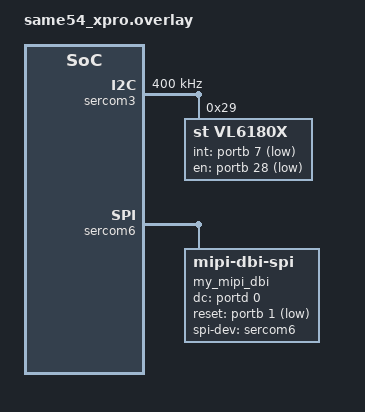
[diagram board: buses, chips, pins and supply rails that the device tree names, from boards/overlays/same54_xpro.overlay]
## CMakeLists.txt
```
cmake_minimum_required(VERSION 3.20.0)

# ------------------------------------------------------------
# Board-specific DTS overlays (MUST be set before Zephyr)
# ------------------------------------------------------------
if(DEFINED BOARD)
  if(BOARD STREQUAL "same54_xpro")
    list(APPEND DTC_OVERLAY_FILE
      ${CMAKE_CURRENT_SOURCE_DIR}/boards/overlays/same54_xpro.overlay
    )
  elseif(BOARD STREQUAL "samd21_iot_wg")
    list(APPEND DTC_OVERLAY_FILE
      ${CMAKE_CURRENT_SOURCE_DIR}/boards/overlays/samd21_iot_wg.overlay
    )
  elseif(BOARD STREQUAL "samd21_iot_wg2")
    list(APPEND DTC_OVERLAY_FILE
      ${CMAKE_CURRENT_SOURCE_DIR}/boards/overlays/samd21_iot_wg2.overlay
    )
    elseif(BOARD STREQUAL "samd21_xpro_ot")
    list(APPEND DTC_OVERLAY_FILE
      ${CMAKE_CURRENT_SOURCE_DIR}/boards/overlays/samd21_xpro_ot.overlay
    )
  endif()

endif()

find_package(Zephyr REQUIRED HINTS $ENV{ZEPHYR_BASE})

project(mchp_range_gfx)

target_include_directories(app PRIVATE ${CMAKE_CURRENT_SOURCE_DIR}/include)

target_sources(app PRIVATE
    src/main.c
    src/range_text.c
    src/range_chart.c
    src/range_dial.c
    src/vl6180x.c
)
```

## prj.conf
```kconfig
# Enable console output
CONFIG_PRINTK=y
CONFIG_NEWLIB_LIBC=y
CONFIG_CBPRINTF_FP_SUPPORT=y

# Configure SPI
CONFIG_GPIO=y
CONFIG_SPI=y

# Configure I2C
CONFIG_I2C=y
CONFIG_I2C_SAM0=y
CONFIG_I2C_INIT_PRIORITY=60
CONFIG_I2C_LOG_LEVEL_DBG=y
CONFIG_PINCTRL=y
CONFIG_PINCTRL_SAM0=y

# Sensor subsystem
CONFIG_SENSOR=y

CONFIG_LOG=y
CONFIG_SENSOR_LOG_LEVEL_DBG=y
CONFIG_PINCTRL_LOG_LEVEL_DBG=y 

CONFIG_INPUT=y
CONFIG_GPIO_SAM0=y

CONFIG_MAIN_STACK_SIZE=8192
CONFIG_SYSTEM_WORKQUEUE_STACK_SIZE=4096

CONFIG_DISPLAY=y
CONFIG_DISPLAY_LOG_LEVEL_ERR=y

CONFIG_LVGL=y
CONFIG_LV_Z_MEM_POOL_SIZE=40000
CONFIG_LV_Z_VDB_SIZE=10

# Display needs data in BGR format, with endianess swapped for SPI
CONFIG_LV_COLOR_DEPTH_16=y
CONFIG_LV_COLOR_16_SWAP=y

CONFIG_SYS_CLOCK_EXISTS=y
CONFIG_LV_CONF_MINIMAL=y
CONFIG_LV_USE_LABEL=y
CONFIG_LV_USE_BUTTON=y
CONFIG_LV_USE_CHART=y
CONFIG_LV_USE_IMAGE=y
CONFIG_LV_USE_THEME_DEFAULT=y
CONFIG_LV_FONT_MONTSERRAT_28=y
CONFIG_TICKLESS_KERNEL=n
CONFIG_LV_USE_ARC=n
CONFIG_LV_USE_BAR=n
CONFIG_LV_USE_DROPDOWN=n
CONFIG_LV_USE_SLIDER=n
CONFIG_LV_USE_TEXTAREA=n
CONFIG_LV_USE_CANVAS=n
CONFIG_LV_USE_THEME_MONO=n
```

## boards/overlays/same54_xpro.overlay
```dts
#include <zephyr/dt-bindings/display/panel.h>

/{
    aliases {
        vl6180xsensor = &vl6180x;
        spi6 = &sercom6;
    };

    chosen {
        zephyr,display = &gc9x01x_lcd;
    };   
};

&pinctrl {
	sercom6_spi_default: sercom6_spi_default {
		group1 {
			pinmux = <PC5C_SERCOM6_PAD1>,
                    <PC4C_SERCOM6_PAD0>,
	                <PC7C_SERCOM6_PAD3>;
		};
	};

    sercom3_i2c_default: sercom3_i2c_default {
        group1 {
            pinmux = <PA22C_SERCOM3_PAD0>,
                    <PA23C_SERCOM3_PAD1>;
        };
    };
};

&sercom3 {
    status = "okay";
    compatible = "atmel,sam0-i2c";
    clock-frequency = <I2C_BITRATE_FAST>;
    #address-cells = <1>;
    #size-cells = <0>;
    pinctrl-0 = <&sercom3_i2c_default>;
    pinctrl-names = "default";

    vl6180x: vl6180x@29 {
        status = "okay";
        compatible = "st,vl6180x";
        reg = <0x29>;

        int-gpios = <&portb 7 (GPIO_ACTIVE_LOW | GPIO_PULL_UP)>;
        en-gpios = <&portb 28 (GPIO_ACTIVE_LOW | GPIO_PULL_UP)>;
        continuous-mode;
    };
};

&sercom6 {
    status = "okay";
    compatible = "atmel,sam0-spi";
    dipo = <3>;
    dopo = <0>;

    #address-cells = <1>;
    #size-cells = <0>;

    pinctrl-0 = <&sercom6_spi_default>;
	pinctrl-names = "default";

    /* Use SPI SS pin as GPIO CS */
    cs-gpios = <&portc 6 GPIO_ACTIVE_LOW>;

    my_mipi_dbi {
        compatible = "zephyr,mipi-dbi-spi";
        status = "okay";
        #address-cells = <1>;
        #size-cells = <0>;
        spi-dev = <&sercom6>;
        dc-gpios = <&portd 0 GPIO_ACTIVE_HIGH>;
        reset-gpios = <&portb 1 GPIO_ACTIVE_LOW>;

        gc9x01x_lcd: gc9x01x_lcd@0 {
            compatible = "galaxycore,gc9x01x";
            reg = <0>;
            mipi-max-frequency = <20000000>;
            pixel-format = <PANEL_PIXEL_FORMAT_RGB_565>;
            width = <240>;
            height = <240>;
            display-inversion;
        };
    };
};
```

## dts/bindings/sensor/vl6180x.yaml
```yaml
# dts/bindings/sensor/vl6180x.yaml
description: "ST VL6180X Time-of-Flight Distance Sensor"
compatible: "st,vl6180x"

properties:
  int-gpios:
    type: phandle-array
    required: false
    description: "Optional interrupt GPIO line"

  en-gpios:
    type: phandle-array
    required: false
    description: "Optional enable GPIO line"

  continuous-mode:
    type: boolean
    required: false
    description: "Enable continuous measurement mode if present"

  reg:
    type: int
    required: true
    description: "I2C address of the sensor"

# Optional: define any standard Zephyr sensor properties
```

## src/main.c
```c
/*
 * Main application for VL6180 visualization on a round display.
 *
 * This program initializes a VL6180 sensor, display, and LVGL UI to show
 * sensor data in two modes: text display, rolling chart.
 * Button presses cycle between screens.
 */
#include <zephyr/kernel.h>
#include <zephyr/sys/printk.h>
#include <zephyr/drivers/gpio.h>
#include <zephyr/input/input.h>
#include <zephyr/device.h>
#include <zephyr/drivers/sensor.h>
#include <zephyr/drivers/display.h>
#include <zephyr/drivers/spi.h>
#include <zephyr/drivers/i2c.h>
#include <lvgl.h>
#include <soc.h>
#include <stdio.h>
#include <stdlib.h>
#include "vl6180x.h"
#include "range_text.h"
#include "range_chart.h"
#include "range_dial.h"

#define SLEEP_TIME_MS 100  /* Main loop sleep time */

static volatile int irq_from_button = 0;  /* Flag set by button interrupt */
static bool button_pressed = false;  /* Current button state */

static const struct gpio_dt_spec led = GPIO_DT_SPEC_GET(DT_ALIAS(led0), gpios);

static const struct gpio_dt_spec switch0 = GPIO_DT_SPEC_GET(DT_ALIAS(sw0), gpios);
static const struct gpio_dt_spec switch1 = GPIO_DT_SPEC_GET_OR(DT_ALIAS(sw1), gpios, {0});
static const struct device *vl6180_dev = DEVICE_DT_GET_ANY(st_vl6180x);

/* Static storage for the LVGL screens */
static lv_obj_t *text_screen = NULL;
static lv_obj_t *chart_screen = NULL;
static lv_obj_t *dial_screen = NULL;

typedef enum {
    SCREEN_TEXT = 0,
    SCREEN_CHART,
    SCREEN_DIAL
} screen_mode_t;

static screen_mode_t current_screen = SCREEN_TEXT;

void heartbeat_thread(void)
{
    while (1) {
        gpio_pin_set_dt(&led, 1);
        k_msleep(100);

        gpio_pin_set_dt(&led, 0);
        k_msleep(100);

        gpio_pin_set_dt(&led, 1);
        k_msleep(100);

        gpio_pin_set_dt(&led, 0);
        k_msleep(700);
    }
}

K_THREAD_DEFINE(heartbeat_tid, 512, heartbeat_thread, NULL, NULL, NULL,
                7, 0, 0);

/*
 * LVGL input device read callback for button input.
 * Maps GPIO button state to LVGL touch events.
 */
static void lv_button_read(lv_indev_t * indev_drv, lv_indev_data_t * data)
{
    button_pressed = gpio_pin_get_dt(&switch0) == 1;
    data->state = button_pressed ? LV_INDEV_STATE_PRESSED : LV_INDEV_STATE_RELEASED;
    data->point.x = 120;  /* Dummy touch coordinates */
    data->point.y = 160;
}

/*
 * Button input event callback (legacy, not used for LVGL).
 */
static void button_input_cb(struct input_event *evt, void *user_data)
{
    if (evt->sync == 0) {
        return;
    }

    irq_from_button = 1;
    printk("Button %d %s\n", evt->code, evt->value ? "pressed" : "released");
}

INPUT_CALLBACK_DEFINE(NULL, button_input_cb, NULL);

int main(void)
{
    int ret;
    struct sensor_value val;

    printk("Application started\n");

    /* Initialize LED GPIO */
    if (!gpio_is_ready_dt(&led)) {
        return 0;
    }

    ret = gpio_pin_configure_dt(&led, GPIO_OUTPUT_ACTIVE);
    if (ret < 0) {
        return 0;
    }

    /* Enable button interrupts */
    if (device_is_ready(switch0.port)) {
        gpio_pin_interrupt_configure_dt(&switch0, GPIO_INPUT);
    }

    if (device_is_ready(switch1.port)) {
        gpio_pin_interrupt_configure_dt(&switch1, GPIO_INPUT);
    }

    if (!device_is_ready(vl6180_dev)) {
        printk("VL6180X device not ready\n");
        return 0;
    }

    /* Initialize display and LVGL */
    const struct device *display_dev;

    display_dev = DEVICE_DT_GET(DT_CHOSEN(zephyr_display));
    if (!device_is_ready(display_dev)) {
        printk("Device not ready, aborting test\n");
        return 0;
    }

    display_set_pixel_format(display_dev, PIXEL_FORMAT_RGB_565);
    display_blanking_off(display_dev);

    /* Create LVGL input device for button */
    lv_indev_t *indev = lv_indev_create();
    lv_indev_set_type(indev, LV_INDEV_TYPE_POINTER);
    lv_indev_set_read_cb(indev, lv_button_read);

    /* ======== LVGL Screen Initialization ======== */
    /* Create text screen */
    text_screen = lv_obj_create(NULL);
    lv_scr_load(text_screen);
    range_text_init(text_screen);

    chart_screen = lv_obj_create(NULL);
    range_chart_init(chart_screen);

    dial_screen = lv_obj_create(NULL);
    range_dial_init(dial_screen);

    /* Temporary next button */
    lv_obj_t *btn = lv_button_create(lv_screen_active());
    lv_obj_set_size(btn, 80, 40);
    lv_obj_align(btn, LV_ALIGN_CENTER, 0, 60);

    lv_obj_t *btn_label = lv_label_create(btn);
    lv_label_set_text(btn_label, "Next");
    lv_obj_center(btn_label);

    /* Main application loop */
    while (1) {
        /* Toggle LED */
        // ret = gpio_pin_toggle_dt(&led);
        // if (ret < 0) {
        //     return 0;
        // }

        // /* Handle button press to switch screens */
        if (irq_from_button) {            
            irq_from_button = 0;
            button_pressed = gpio_pin_get_dt(&switch0) == 1;

            /* Remove welcome UI elements on first press */
            if (btn != NULL) {
                lv_obj_del(btn);
                btn = NULL;
            }

            if (button_pressed) {
                current_screen = (current_screen + 1) % 3;

                /* Load the new screen */
                switch(current_screen) {
                    case SCREEN_TEXT:
                        lv_scr_load(text_screen);
                        break;
                    case SCREEN_CHART:
                        lv_scr_load(chart_screen);
                        break;
                    case SCREEN_DIAL:
                        lv_scr_load(dial_screen);
                        break;
                }
            }
        }

        if (sensor_sample_fetch(vl6180_dev) == 0) {
            sensor_channel_get(vl6180_dev, SENSOR_CHAN_DISTANCE, &val);
            switch(current_screen) {
                case SCREEN_TEXT:
                    update_range_text(&val);
                    break;
                case SCREEN_CHART:
                    update_range_chart(&val);
                    break;
                case SCREEN_DIAL:
                    update_range_dial(&val);
                    break;
            }
        }

        /* Run LVGL timer handler for UI updates */
        lv_timer_handler();

        k_msleep(SLEEP_TIME_MS);
    }

    return 0;
}
```

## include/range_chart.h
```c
/**
 * @file range_chart.h
 *
 * Helper APIs for rendering a rolling vl6180x sensor chart using LVGL.
 * This module creates a small oscilloscope-style chart that plots the
 * range channel in real time.
 */
#ifndef RANGE_CHART_H
#define RANGE_CHART_H

#include <zephyr/drivers/sensor.h>
#include <lvgl.h>
#include <stdint.h>

/**
 * Initialize the range chart.
 *
 * This must be called once before calling update_range_chart(). The returned
 * object is the same parent that was passed in, which allows chaining in the
 * caller if desired.
 *
 * @param parent The LVGL object to contain the chart.
 * @return The same parent object passed in.
 */
lv_obj_t* range_chart_init(lv_obj_t *parent);

/**
 * Push new range samples into the chart.
 *
 * This should be called whenever a new sensor sample is available.
 * Only the integer part (val1) of each sensor_value is used.
 *
 * @param distance Pointer to temperature value.
 */
void update_range_chart(struct sensor_value *distance);

#endif /* RANGE_CHART_H */
```

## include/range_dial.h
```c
/**
 * @file range_dial.h
 *
 * Helper APIs for rendering a vl6180x sensor dial using LVGL.
 * This module creates a small dial that plots the
 * range channel in real time.
 */
#ifndef RANGE_DIAL_H
#define RANGE_DIAL_H

#include <zephyr/drivers/sensor.h>
#include <lvgl.h>
#include <stdint.h>

/**
 * Initialize the range dial.
 *
 * This must be called once before calling update_range_chart(). The returned
 * object is the same parent that was passed in, which allows chaining in the
 * caller if desired.
 *
 * @param parent The LVGL object to contain the chart.
 * @return The same parent object passed in.
 */
lv_obj_t* range_dial_init(lv_obj_t *parent);

/**
 * Push new range samples into the chart.
 *
 * This should be called whenever a new sensor sample is available.
 * Only the integer part (val1) of each sensor_value is used.
 *
 * @param distance Pointer to temperature value.
 */
void update_range_dial(struct sensor_value *distance);

#endif /* RANGE_DIAL_H */
```

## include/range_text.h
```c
/**
 * @file bme280_text.h
 *
 * Helper APIs for BME280 sensor text display using LVGL.
 * This module creates a simple text-based display for showing real-time
 * sensor values (Temperature/Pressure/Humidity).
 */
#ifndef RANGE_TEXT_H
#define RANGE_TEXT_H

#include <zephyr/drivers/sensor.h>
#include <lvgl.h>
#include <stdint.h>

/**
 * Initialize the Range Text.
 *
 * This must be called once before calling update_range_text(). The returned
 * object is the same parent that was passed in, which allows chaining in the
 * caller if desired.
 *
 * @param parent The LVGL object to contain the text.
 * @return The same parent object passed in.
 */
lv_obj_t* range_text_init(lv_obj_t *parent);

/**
 * Push new range samples into the text.
 *
 * This should be called whenever a new range sample is available.
 *
 * @param distance Pointer to distance value.
 */
void update_range_text(struct sensor_value *distance);

#endif /* RANGE_TEXT_H */
```

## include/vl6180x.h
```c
#ifndef ZEPHYR_DRIVERS_SENSOR_VL6180X_H_
#define ZEPHYR_DRIVERS_SENSOR_VL6180X_H_

#include <zephyr/drivers/i2c.h>
#include <zephyr/drivers/gpio.h>

/* Device configuration */
struct vl6180x_config {
    struct i2c_dt_spec i2c;
    struct gpio_dt_spec int_gpio;
    struct gpio_dt_spec en_gpio;
    bool continuous;
};

/* Runtime data */
struct vl6180x_data {
    uint8_t distance;

    const struct device *dev;

    /* Interrupt handling */
    struct gpio_callback gpio_cb;
    struct k_sem data_ready;
};

#endif /* ZEPHYR_DRIVERS_SENSOR_VL6180X_H_ */
```

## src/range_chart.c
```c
/*
 * A simple LVGL chart implementation that plots lv6180x sensor values
 * (range) over time.
 *
 * The chart is configured as a circular rolling buffer, where new values
 * replace the oldest ones. This gives an "oscilloscope" feel.
 */
#include <zephyr/kernel.h>
#include <zephyr/sys/printk.h>
#include <stdlib.h>
#include <stdio.h>
#include <lvgl.h>
#include <math.h>
#include "range_chart.h"

static lv_obj_t *chart;
static lv_chart_series_t *ser_distance;

lv_obj_t* range_chart_init(lv_obj_t *parent)
{
    /* Create a chart object as a child of the given parent */
    chart = lv_chart_create(parent);

    /* Give the chart a fixed size and center it */
    lv_obj_set_size(chart, 200, 200);
    lv_obj_center(chart);

    /*
     * Use a dark background and minimal border to look like an oscilloscope.
     */
    lv_obj_set_style_bg_color(chart, lv_color_black(), 0);
    lv_obj_set_style_bg_opa(chart, LV_OPA_COVER, 0);
    lv_obj_set_style_border_width(chart, 1, 0);
    lv_obj_set_style_border_color(chart, lv_color_hex(0x444444), 0);

    /* Grid lines for reference */
    lv_chart_set_div_line_count(chart, 6, 6);

    lv_obj_set_style_line_color(chart, lv_color_hex(0x333333), LV_PART_MAIN);
    lv_obj_set_style_line_width(chart, 1, LV_PART_MAIN);

    /* Use circular update mode so the chart scrolls continuously */
    lv_chart_set_update_mode(chart, LV_CHART_UPDATE_MODE_CIRCULAR);
    lv_obj_set_style_size(chart, 0, 0, LV_PART_INDICATOR);

    /* 120 points per series and a Y range that covers distance */
    lv_chart_set_point_count(chart, 120);
    lv_chart_set_range(chart, LV_CHART_AXIS_PRIMARY_Y, 0, 260);

    /* Add series for distance */
    ser_distance = lv_chart_add_series(chart, lv_palette_main(LV_PALETTE_GREEN), LV_CHART_AXIS_PRIMARY_Y);
    return parent;
}

/**
 * update_range_chart - add new sensor values to the chart
 *
 * This is intended to be called whenever a new range sample is available.
 * It pushes the values into the chart series and then clears a few points
 * ahead of the write cursor to avoid visual ghosting artifacts.
 */
void update_range_chart(struct sensor_value *distance_sv)
{
    /* Use only the integer component (val1) from the sensor_value */
    int32_t distance_val = distance_sv->val1;

    /* Append new samples to each series */
    lv_chart_set_next_value(chart, ser_distance, distance_val);

    /*
     * LVGL leaves old points behind when using circular mode. Clearing a few
     * points ahead of the cursor prevents "ghosting" where remnants of old
     * data remain visible after the chart wraps around.
     */
    uint32_t point_count = lv_chart_get_point_count(chart);
    uint32_t start_idx = lv_chart_get_x_start_point(chart, ser_distance);

    int32_t *sd = lv_chart_get_series_y_array(chart, ser_distance);

    for (int i = 1; i <= 3; i++) {
        sd[(start_idx + i) % point_count] = LV_CHART_POINT_NONE;
    }

    /* Force a redraw so the new points appear immediately */
    lv_chart_refresh(chart);
}
```

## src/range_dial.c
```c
/*
 * Range dial display module.
 *
 * Displays the current VL6180X range as a dial/gauge using LVGL.
 */
/*
 * Range dial display module for LVGL 9+.
 *
 * Displays VL6180X distance as a large dial using lv_scale.
 */
#include <stdlib.h>
#include <stdio.h>
#include <zephyr/kernel.h>
#include <zephyr/drivers/sensor.h>
#include <lvgl.h>
#include "range_text.h"

static lv_obj_t *screen_dial;
static lv_obj_t *dial_label;
static lv_obj_t *dial_scale;
static lv_obj_t *dial_indicator;

lv_obj_t* range_dial_init(lv_obj_t *parent)
{
    /* Create main container */
    screen_dial = lv_obj_create(parent);
    lv_obj_set_size(screen_dial, 240, 240);
    lv_obj_center(screen_dial);

    /* Create a scale object (acts as a dial) */
    dial_scale = lv_scale_create(screen_dial);
    lv_obj_set_size(dial_scale, 200, 200);
    lv_obj_center(dial_scale);
    lv_obj_set_style_bg_color(dial_scale, lv_color_white(), 0);
    lv_scale_set_range(dial_scale, 0, 210); /* Max range 210 mm */
    lv_scale_set_total_tick_count(dial_scale, 22);
    lv_scale_set_major_tick_every(dial_scale, 2);
    lv_obj_set_style_line_color(dial_scale, lv_palette_main(LV_PALETTE_BLUE), LV_PART_ITEMS);
    lv_obj_set_style_text_font(dial_scale, &lv_font_montserrat_16, LV_PART_INDICATOR);

    lv_scale_set_angle_range(dial_scale, 270);
    lv_scale_set_rotation(dial_scale, 135);
    lv_obj_set_style_transform_rotation(dial_scale, 
        LV_SCALE_LABEL_ROTATE_MATCH_TICKS | LV_SCALE_LABEL_ROTATE_KEEP_UPRIGHT,
        LV_PART_INDICATOR);

    lv_scale_set_mode(dial_scale, LV_SCALE_MODE_ROUND_INNER);

    /* Create the needle / indicator */
    dial_indicator = lv_line_create(dial_scale);
    lv_obj_set_style_line_width(dial_indicator, 3, LV_PART_MAIN);
    lv_obj_set_style_line_rounded(dial_indicator, true, LV_PART_MAIN);
    lv_obj_set_style_line_color(dial_indicator, lv_palette_main(LV_PALETTE_RED), LV_PART_MAIN);

    /* Add a central label to show numeric value */
    dial_label = lv_label_create(screen_dial);
    lv_obj_set_style_text_color(dial_label, lv_color_black(), 0);
    lv_obj_set_style_text_font(dial_label, &lv_font_montserrat_16, 0);
    lv_label_set_text(dial_label, "-- mm");
    lv_obj_align(dial_label, LV_ALIGN_CENTER, 0, 50);

    return parent;
}

void update_range_dial(struct sensor_value *distance)
{
    char buf[32];
    int distance_mm = distance->val1;

    /* Update the label */
    snprintf(buf, sizeof(buf), "%d mm", distance_mm);
    lv_label_set_text(dial_label, buf);

    /* Update the scale / needle */
    lv_scale_set_line_needle_value(dial_scale, dial_indicator, 60, distance_mm);
}
```

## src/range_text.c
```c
/*
 * Range text display module.
 *
 * This module provides a simple LVGL-based UI for displaying real-time
 * BME280 sensor values (Temperature/Pressure/Humidity) as large text labels. It creates a
 * bordered container with three colored labels and separator lines.
 */
#include <stdlib.h>
#include <stdio.h>
#include <zephyr/kernel.h>
#include <zephyr/sys/printk.h>
#include <zephyr/drivers/sensor.h>
#include <lvgl.h>
#include <math.h>
#include "range_text.h"

#define LABEL_X_OFFSET 10  /* Horizontal offset for labels from left edge */

static lv_obj_t *screen_text;
static lv_obj_t *label_distance;

lv_obj_t* range_text_init(lv_obj_t *parent)
{
    /* Create the main container for the text display */
    screen_text = lv_obj_create(parent);
    lv_obj_set_style_bg_color(screen_text, lv_color_black(), 0);
    lv_obj_set_size(screen_text, 180, 100);
    lv_obj_center(screen_text);

     /* Create the distance label */
    label_distance = lv_label_create(screen_text);
    lv_obj_set_style_text_color(label_distance, lv_color_white(), 0);
    lv_obj_set_style_text_font(label_distance, &lv_font_montserrat_28, 0);
    lv_label_set_text(label_distance, "-- mm");
    lv_obj_align(label_distance, LV_ALIGN_CENTER, 0, 0);

    return parent;   
}

void update_range_text(struct sensor_value *distance)
{
    char buf[32];
    int distance_mm = distance->val1;
    snprintf(buf, sizeof(buf), "%d mm", distance_mm);
    lv_label_set_text(label_distance, buf);
}
```

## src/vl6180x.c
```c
#define DT_DRV_COMPAT st_vl6180x

#include <zephyr/kernel.h>
#include <zephyr/device.h>
#include <zephyr/drivers/i2c.h>
#include <zephyr/drivers/gpio.h>
#include <zephyr/drivers/sensor.h>
#include <zephyr/sys/printk.h>

#include "vl6180x.h"

/* Registers */
#define SYSRANGE_START            0x018
#define SYSTEM_INTERRUPT_CONFIG   0x014
#define SYSTEM_INTERRUPT_CLEAR    0x015
#define SYSTEM_FRESH_OUT_OF_RESET 0x016
#define SYSTEM_MODE_GPIO1         0x011
#define RESULT_RANGE_STATUS       0x04D
#define RESULT_INTERRUPT_STATUS   0x04F
#define RESULT_RANGE_VALUE        0x062

/* --- Low-level I2C --- */

static int write_reg16(const struct i2c_dt_spec *i2c, uint16_t reg, uint8_t val)
{
    uint8_t buf[3] = { reg >> 8, reg & 0xFF, val };
    return i2c_write_dt(i2c, buf, 3);
}

static int read_reg16(const struct i2c_dt_spec *i2c, uint16_t reg, uint8_t *val)
{
    uint8_t addr[2] = { reg >> 8, reg & 0xFF };
    return i2c_write_read_dt(i2c, addr, 2, val, 1);
}

/* --- GPIO interrupt callback --- */

static void vl6180x_gpio_callback(const struct device *port,
                                  struct gpio_callback *cb,
                                  uint32_t pins)
{
    struct vl6180x_data *data =
        CONTAINER_OF(cb, struct vl6180x_data, gpio_cb);

    k_sem_give(&data->data_ready);
}

/* --- Sensor init --- */
static int vl6180x_init(const struct device *dev)
{
    const struct vl6180x_config *cfg = dev->config;
    struct vl6180x_data *data = dev->data;

    uint8_t reset;

    /* configure the enable pin and reset the device to a known state*/
    if (cfg->en_gpio.port && device_is_ready(cfg->en_gpio.port)) {
        const struct gpio_dt_spec en_gpio = cfg->en_gpio;
        const struct device* port = en_gpio.port;

        gpio_pin_configure(port, en_gpio.pin, GPIO_OUTPUT);
        gpio_pin_set(port, en_gpio.pin, 1);
        k_msleep(2);
        gpio_pin_set(port, en_gpio.pin, 0);     // Pull low to reset (pin is active low)
        k_msleep(10);                           // Hold 10 ms
        gpio_pin_set(port, en_gpio.pin, 1);     // Release
        k_msleep(2);                            // Wait for stabilization
    }

    if (!device_is_ready(cfg->i2c.bus)) {
        printk("VL6180X: I2C bus not ready\n");
        return -ENODEV;
    }

    data->dev = dev;
    k_sem_init(&data->data_ready, 0, 1);

    /* Check reset state */
    read_reg16(&cfg->i2c, SYSTEM_FRESH_OUT_OF_RESET, &reset);

    if (reset) {
        /* Minimal ST init sequence */
        write_reg16(&cfg->i2c, 0x0207, 0x01);
        write_reg16(&cfg->i2c, 0x0208, 0x01);
        write_reg16(&cfg->i2c, 0x0096, 0x00);
        write_reg16(&cfg->i2c, 0x0097, 0xfd);
        write_reg16(&cfg->i2c, 0x00e3, 0x00);
        write_reg16(&cfg->i2c, 0x00e4, 0x04);
        write_reg16(&cfg->i2c, 0x00e5, 0x02);
        write_reg16(&cfg->i2c, 0x00e6, 0x01);
        write_reg16(&cfg->i2c, 0x00e7, 0x03);
        write_reg16(&cfg->i2c, 0x00f5, 0x02);
        write_reg16(&cfg->i2c, 0x00d9, 0x05);
        write_reg16(&cfg->i2c, 0x00db, 0xce);
        write_reg16(&cfg->i2c, 0x00dc, 0x03);
        write_reg16(&cfg->i2c, 0x00dd, 0xf8);
        write_reg16(&cfg->i2c, 0x009f, 0x00);
        write_reg16(&cfg->i2c, 0x00a3, 0x3c);
        write_reg16(&cfg->i2c, 0x00b7, 0x00);
        write_reg16(&cfg->i2c, 0x00bb, 0x3c);
        write_reg16(&cfg->i2c, 0x00b2, 0x09);
        write_reg16(&cfg->i2c, 0x00ca, 0x09);
        write_reg16(&cfg->i2c, 0x0198, 0x01);
        write_reg16(&cfg->i2c, 0x01b0, 0x17);
        write_reg16(&cfg->i2c, 0x01ad, 0x00);
        write_reg16(&cfg->i2c, 0x00ff, 0x05);
        write_reg16(&cfg->i2c, 0x0100, 0x05);
        write_reg16(&cfg->i2c, 0x0199, 0x05);
        write_reg16(&cfg->i2c, 0x01a6, 0x1b);
        write_reg16(&cfg->i2c, 0x01ac, 0x3e);
        write_reg16(&cfg->i2c, 0x01a7, 0x1f);
        write_reg16(&cfg->i2c, 0x0030, 0x00);

        /* additional public registers */
        //write_reg16(&cfg->i2c, 0x0011, 0x10); 
        write_reg16(&cfg->i2c, 0x010a, 0x30);
        write_reg16(&cfg->i2c, 0x003f, 0x46);
        write_reg16(&cfg->i2c, 0x0031, 0xFF);
        write_reg16(&cfg->i2c, 0x0040, 0x63);
        write_reg16(&cfg->i2c, 0x002e, 0x01);
        
        /* optional public registers */
        write_reg16(&cfg->i2c, 0x001b, 0x09);
        write_reg16(&cfg->i2c, 0x003e, 0x31);
        write_reg16(&cfg->i2c, 0x0014, 0x24);

        write_reg16(&cfg->i2c, SYSTEM_FRESH_OUT_OF_RESET, 0x00);
    }

    /* Configure interrupt GPIO setup */
    if (cfg->int_gpio.port && device_is_ready(cfg->int_gpio.port)) {
        gpio_pin_configure_dt(&cfg->int_gpio, GPIO_INPUT);

        gpio_init_callback(&data->gpio_cb,
                           vl6180x_gpio_callback,
                           BIT(cfg->int_gpio.pin));

        gpio_add_callback(cfg->int_gpio.port, &data->gpio_cb);        
        
        write_reg16(&cfg->i2c, SYSTEM_INTERRUPT_CLEAR, 0x07);
        
        gpio_pin_interrupt_configure_dt(&cfg->int_gpio,
                                        GPIO_INT_EDGE_TO_ACTIVE);
    }
    
    /* Configure continuous mode if enabled */
    if (cfg->continuous) {
        write_reg16(&cfg->i2c, SYSTEM_MODE_GPIO1, 0x10);       /* GPIO1 interrupt, active low */
        write_reg16(&cfg->i2c, SYSTEM_INTERRUPT_CONFIG, 0x04); /* new sample ready interrupt */
        write_reg16(&cfg->i2c, SYSTEM_INTERRUPT_CLEAR, 0x07);
        write_reg16(&cfg->i2c, SYSRANGE_START, 0x03);          /* continuous */
    }

    printk("VL6180X init OK\n");
    return 0;
}

/* --- Sample fetch --- */
static int vl6180x_sample_fetch(const struct device *dev,
                                enum sensor_channel chan)
{
    struct vl6180x_data *data = dev->data;
    const struct vl6180x_config *cfg = dev->config;

    /* Continuous mode with interrupt */
    if (cfg->continuous && cfg->int_gpio.port) {
        if (k_sem_take(&data->data_ready, K_MSEC(10)) != 0) {
            return -ETIMEDOUT;
        }

        read_reg16(&cfg->i2c, RESULT_RANGE_VALUE, &data->distance);
        write_reg16(&cfg->i2c, SYSTEM_INTERRUPT_CLEAR, 0x07);

        return 0;
    }

    /* Fallback: single-shot polling */
    uint8_t status;

    write_reg16(&cfg->i2c, SYSRANGE_START, 0x01);

    do {
        k_msleep(10);
        read_reg16(&cfg->i2c, RESULT_RANGE_STATUS, &status);
    } while ((status & 0x01) == 0);

    read_reg16(&cfg->i2c, RESULT_RANGE_VALUE, &data->distance);
    write_reg16(&cfg->i2c, SYSTEM_INTERRUPT_CLEAR, 0x07);

    return 0;
}

/* --- Channel get --- */
static int vl6180x_channel_get(const struct device *dev,
                               enum sensor_channel chan,
                               struct sensor_value *val)
{
    struct vl6180x_data *data = dev->data;

    if (chan != SENSOR_CHAN_DISTANCE) {
        return -ENOTSUP;
    }

    val->val1 = data->distance;
    val->val2 = 0;

    return 0;
}

/* --- API --- */
static const struct sensor_driver_api vl6180x_api = {
    .sample_fetch = vl6180x_sample_fetch,
    .channel_get = vl6180x_channel_get,
};

/* --- Instance macro --- */
#define VL6180X_DEFINE(inst)                                      \
    static struct vl6180x_data vl6180x_data_##inst;               \
    static const struct vl6180x_config vl6180x_config_##inst = {  \
        .i2c = I2C_DT_SPEC_INST_GET(inst),                        \
        .int_gpio = GPIO_DT_SPEC_INST_GET_OR(inst, int_gpios, {0}), \
        .en_gpio = GPIO_DT_SPEC_INST_GET_OR(inst, en_gpios, {0}), \
        .continuous = DT_INST_NODE_HAS_PROP(inst, continuous_mode), \
    };                                                           \
    DEVICE_DT_INST_DEFINE(inst,                                  \
                          vl6180x_init,                          \
                          NULL,                                  \
                          &vl6180x_data_##inst,                  \
                          &vl6180x_config_##inst,                \
                          POST_KERNEL,                           \
                          CONFIG_SENSOR_INIT_PRIORITY,           \
                          &vl6180x_api);

DT_INST_FOREACH_STATUS_OKAY(VL6180X_DEFINE)
```
